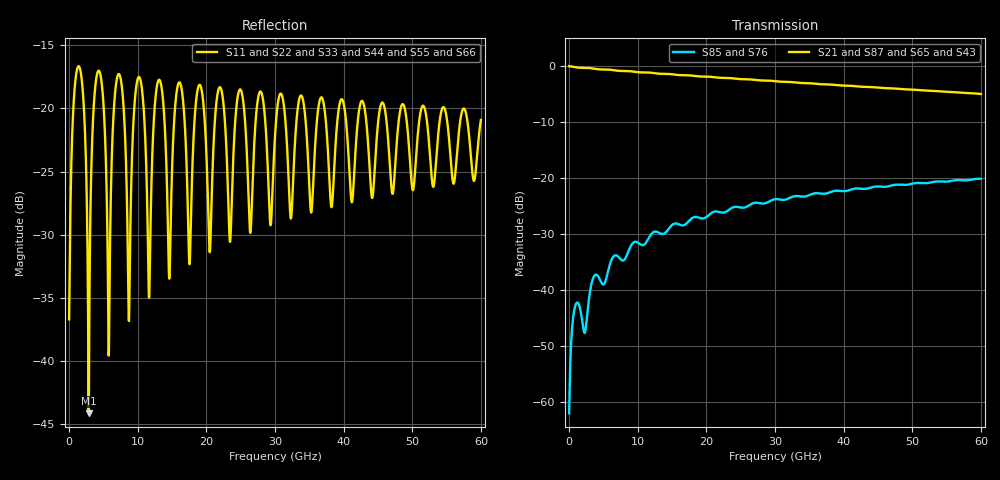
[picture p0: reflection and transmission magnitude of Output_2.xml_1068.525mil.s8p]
# Hz S ri R 50
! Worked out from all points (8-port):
!   1500 points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, 40 MHz to 60 GHz, reference 50 ohm
!   strongest paths, dB at 40 MHz, 15.04 GHz, 30.04 GHz, 45.04 GHz, 60 GHz:
!     S21: 0.0, -1.5, -2.7, -3.9, -5.0
!     S87: 0.0, -1.5, -2.7, -3.9, -5.0
!     S65: 0.0, -1.5, -2.7, -3.9, -5.0
!     S43: 0.0, -1.5, -2.7, -3.9, -5.0
!     S85: -62.0, -28.4, -23.8, -21.5, -20.1
!     S76: -62.0, -28.4, -23.8, -21.5, -20.1
!   lowest |S11| = -44.1 dB at 2.88 GHz (marker M1), VSWR 1.01, Z = 50.6 - j0.195 ohm
!   |S11| at or under -10 dB: start of sweep to end of sweep
